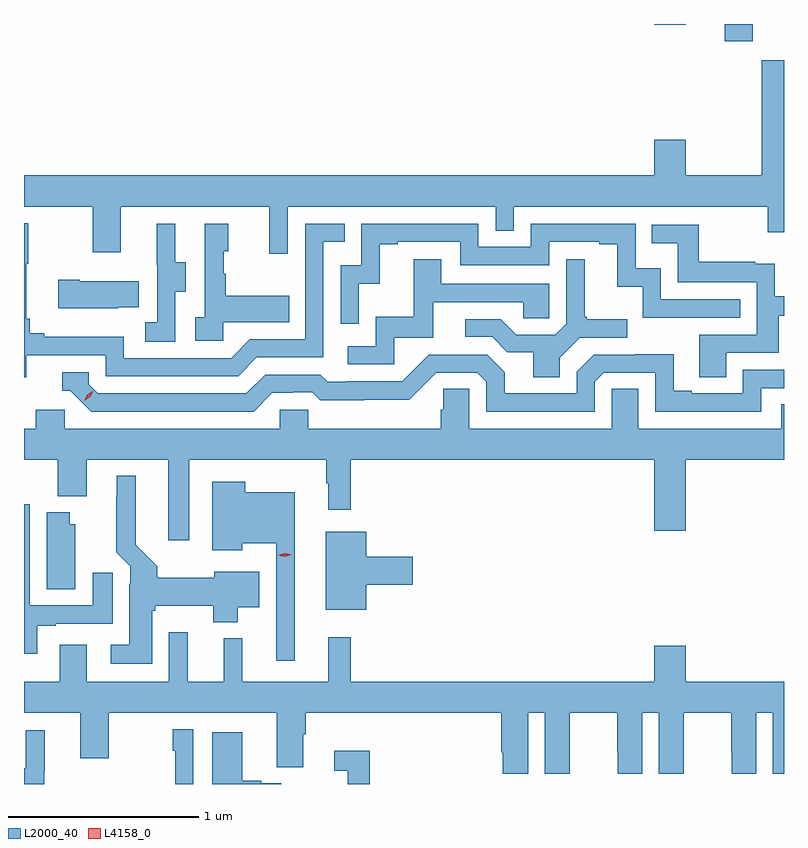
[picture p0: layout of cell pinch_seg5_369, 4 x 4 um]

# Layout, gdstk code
import gdstk
lib = gdstk.Library(unit=1e-6, precision=1e-09)
def R(c, l, rs):  # rectangles x0, y0, x1, y1
    for r in rs: c.add(gdstk.rectangle(r[:2], r[2:], *l))
def P(c, l, *ps):  # polygons
    for p in ps: c.add(gdstk.Polygon(p, *l))
L2000_40 = (2000, 40)
L4158_0 = (4158, 0)

pinch_seg5_369 = lib.new_cell('pinch_seg5_369')
R(pinch_seg5_369, L2000_40, [(992.549,884.271,992.697,884.361), (992.18,884.358,992.344,884.361)])
P(pinch_seg5_369, L2000_40, [(990.249,883.4),(991.344,883.4),(991.344,883.273),(991.44,883.273),(991.44,883.4),(992.776,883.4),(992.776,883.265),(992.862,883.265),(992.862,884.17),(992.744,884.17),(992.744,883.564),(992.344,883.564),(992.344,883.753),(992.18,883.753),(992.18,883.564),(988.862,883.564),(988.862,883.4),(989.224,883.4),(989.224,883.161),(989.371,883.161),(989.371,883.4),(990.152,883.4),(990.152,883.152),(990.249,883.152)],
  [(988.874,882.618),(989.292,882.618),(989.292,882.507),(989.989,882.507),(990.088,882.606),(990.438,882.606),(990.438,883.215),(990.551,883.215),(990.551,883.311),(990.342,883.311),(990.342,882.702),(990.051,882.702),(989.952,882.603),(989.388,882.603),(989.388,882.715),(988.969,882.715),(988.969,882.734),(988.892,882.734),(988.892,882.811),(988.873,882.811),(988.873,883.099),(988.885,883.099),(988.885,883.312),(988.862,883.312),(988.862,882.502),(988.874,882.502)],
  [(990.624,882.995),(990.734,882.995),(990.734,883.203),(990.829,883.203),(990.829,883.215),(991.158,883.215),(991.158,883.092),(991.626,883.092),(991.626,883.215),(991.889,883.215),(991.889,883.203),(991.985,883.203),(991.985,882.977),(992.118,882.977),(992.118,882.816),(992.633,882.816),(992.633,882.912),(992.214,882.912),(992.214,883.075),(992.082,883.075),(992.082,883.311),(991.53,883.311),(991.53,883.188),(991.254,883.188),(991.254,883.311),(990.636,883.311),(990.636,883.092),(990.528,883.092),(990.528,882.783),(990.624,882.783)],
  [(989.658,882.952),(989.713,882.952),(989.713,883.107),(989.659,883.107),(989.659,883.309),(989.561,883.309),(989.561,883.095),(989.562,883.095),(989.562,882.791),(989.499,882.791),(989.499,882.688),(989.658,882.688)],
  [(989.91,882.791),(990.257,882.791),(990.257,882.931),(989.923,882.931),(989.923,883.046),(989.913,883.046),(989.913,883.164),(989.938,883.164),(989.938,883.309),(989.814,883.309),(989.814,882.818),(989.763,882.818),(989.763,882.693),(989.91,882.693)],
  [(992.557,882.63),(992.834,882.63),(992.834,882.826),(992.862,882.826),(992.862,882.927),(992.814,882.927),(992.814,883.099),(992.711,883.099),(992.711,883.111),(992.413,883.111),(992.413,883.305),(992.167,883.305),(992.167,883.208),(992.302,883.208),(992.302,883.002),(992.718,883.002),(992.718,882.726),(992.417,882.726),(992.417,882.502),(992.557,882.502)],
  [(990.81,882.711),(991.015,882.711),(991.015,882.897),(991.489,882.897),(991.489,882.813),(991.626,882.813),(991.626,882.993),(991.057,882.993),(991.057,883.123),(990.913,883.123),(990.913,882.82),(990.714,882.82),(990.714,882.666),(990.567,882.666),(990.567,882.57),(990.81,882.57)],
  [(991.681,882.604),(991.788,882.711),(992.038,882.711),(992.038,882.808),(991.825,882.808),(991.825,882.82),(991.813,882.82),(991.813,883.123),(991.716,883.123),(991.716,882.783),(991.659,882.726),(991.453,882.726),(991.372,882.807),(991.185,882.807),(991.185,882.714),(991.326,882.714),(991.406,882.634),(991.541,882.634),(991.541,882.502),(991.681,882.502)],
  [(989.357,882.869),(989.465,882.869),(989.465,883.006),(989.155,883.006),(989.155,883.014),(989.043,883.014),(989.043,882.866),(989.357,882.866)],
  [(990.169,882.42),(990.276,882.42),(990.276,882.423),(990.379,882.423),(990.421,882.381),(990.654,882.381),(990.654,882.383),(990.89,882.383),(991.032,882.525),(991.248,882.525),(991.296,882.477),(991.296,882.321),(991.866,882.321),(991.866,882.477),(991.914,882.525),(992.184,882.525),(992.184,882.321),(992.742,882.321),(992.742,882.444),(992.862,882.444),(992.862,882.54),(992.646,882.54),(992.646,882.417),(992.377,882.417),(992.377,882.43),(992.281,882.43),(992.281,882.623),(992.076,882.623),(992.076,882.621),(991.86,882.621),(991.77,882.531),(991.77,882.417),(991.393,882.417),(991.393,882.527),(991.299,882.621),(990.993,882.621),(990.852,882.48),(990.559,882.48),(990.559,882.477),(990.46,882.477),(990.421,882.516),(990.132,882.516),(990.033,882.417),(989.25,882.417),(989.202,882.465),(989.202,882.528),(989.063,882.528),(989.063,882.432),(989.106,882.432),(989.217,882.321),(990.07,882.321)],
  [(989.731,882.068),(990.453,882.068),(990.453,881.945),(990.464,881.945),(990.464,881.805),(990.581,881.805),(990.581,882.068),(992.18,882.068),(992.18,881.694),(992.344,881.694),(992.344,882.068),(992.862,882.068),(992.862,882.359),(992.847,882.359),(992.847,882.232),(992.095,882.232),(992.095,882.44),(991.956,882.44),(991.956,882.232),(991.206,882.232),(991.206,882.44),(991.069,882.44),(991.069,882.33),(991.055,882.33),(991.055,882.232),(990.357,882.232),(990.357,882.33),(990.207,882.33),(990.207,882.232),(989.076,882.232),(989.076,882.33),(988.925,882.33),(988.925,882.232),(988.862,882.232),(988.862,882.068),(989.039,882.068),(989.039,881.876),(989.191,881.876),(989.191,882.068),(989.621,882.068),(989.621,881.643),(989.731,881.643)],
  [(989.536,881.274),(989.554,881.274),(989.554,881.3),(989.857,881.3),(989.857,881.213),(989.986,881.213),(989.986,881.291),(990.1,881.291),(990.1,881.479),(989.864,881.479),(989.864,881.446),(989.562,881.446),(989.562,881.507),(989.449,881.62),(989.449,881.983),(989.351,881.983),(989.351,881.873),(989.347,881.873),(989.347,881.582),(989.421,881.508),(989.421,881.414),(989.417,881.414),(989.417,881.095),(989.319,881.095),(989.319,880.994),(989.536,880.994)],
  [(990.286,881.896),(990.027,881.896),(990.027,881.953),(989.852,881.953),(989.852,881.591),(990.01,881.591),(990.01,881.627),(990.189,881.627),(990.189,881.01),(990.286,881.01)],
  [(988.933,881.193),(989.029,881.193),(989.029,881.205),(989.329,881.205),(989.329,881.473),(989.225,881.473),(989.225,881.301),(988.891,881.301),(988.891,881.833),(988.862,881.833),(988.862,881.046),(988.933,881.046)],
  [(989.131,881.727),(989.104,881.727),(989.104,881.791),(988.982,881.791),(988.982,881.386),(989.131,881.386)],
  [(990.664,881.411),(990.907,881.411),(990.907,881.558),(990.664,881.558),(990.664,881.689),(990.449,881.689),(990.449,881.279),(990.664,881.279)],
  [(991.516,880.736),(991.604,880.736),(991.604,880.416),(991.734,880.416),(991.734,880.528),(991.735,880.528),(991.735,880.736),(991.985,880.736),(991.985,880.528),(991.986,880.528),(991.986,880.416),(992.116,880.416),(992.116,880.736),(992.204,880.736),(992.204,880.416),(992.334,880.416),(992.334,880.528),(992.335,880.528),(992.335,880.736),(992.585,880.736),(992.585,880.528),(992.586,880.528),(992.586,880.416),(992.716,880.416),(992.716,880.736),(992.804,880.736),(992.804,880.416),(992.862,880.416),(992.862,880.9),(992.344,880.9),(992.344,881.089),(992.18,881.089),(992.18,880.9),(990.581,880.9),(990.581,881.134),(990.464,881.134),(990.464,880.9),(990.011,880.9),(990.011,881.128),(989.912,881.128),(989.912,880.9),(989.723,880.9),(989.723,881.161),(989.625,881.161),(989.625,880.9),(989.191,880.9),(989.191,881.095),(989.051,881.095),(989.051,880.9),(988.862,880.9),(988.862,880.736),(989.159,880.736),(989.159,880.497),(989.307,880.497),(989.307,880.736),(990.191,880.736),(990.191,880.45),(990.331,880.45),(990.331,880.624),(990.344,880.624),(990.344,880.736),(991.373,880.736),(991.373,880.528),(991.382,880.528),(991.382,880.416),(991.516,880.416)],
  [(989.754,880.648),(989.646,880.648),(989.646,880.535),(989.658,880.535),(989.658,880.361),(989.754,880.361)],
  [(988.968,880.431),(988.97,880.431),(988.97,880.645),(988.871,880.645),(988.871,880.443),(988.862,880.443),(988.862,880.361),(988.968,880.361)],
  [(990.216,880.365),(990.11,880.365),(990.11,880.378),(990.01,880.378),(990.01,880.633),(989.852,880.633),(989.852,880.361),(990.216,880.361)],
  [(990.683,880.537),(990.495,880.537),(990.495,880.431),(990.567,880.431),(990.567,880.361),(990.683,880.361)])
P(pinch_seg5_369, L4158_0, [(989.179,882.379),(989.179,882.379),(989.195,882.411),(989.226,882.43),(989.226,882.43),(989.226,882.43),(989.21,882.398),(989.179,882.379)],
  [(990.235,881.556),(990.2,881.564),(990.199,881.564),(990.2,881.564),(990.234,881.576),(990.27,881.568),(990.27,881.568),(990.27,881.567)])

lib.write_gds('pinch_seg5_369.gds')
